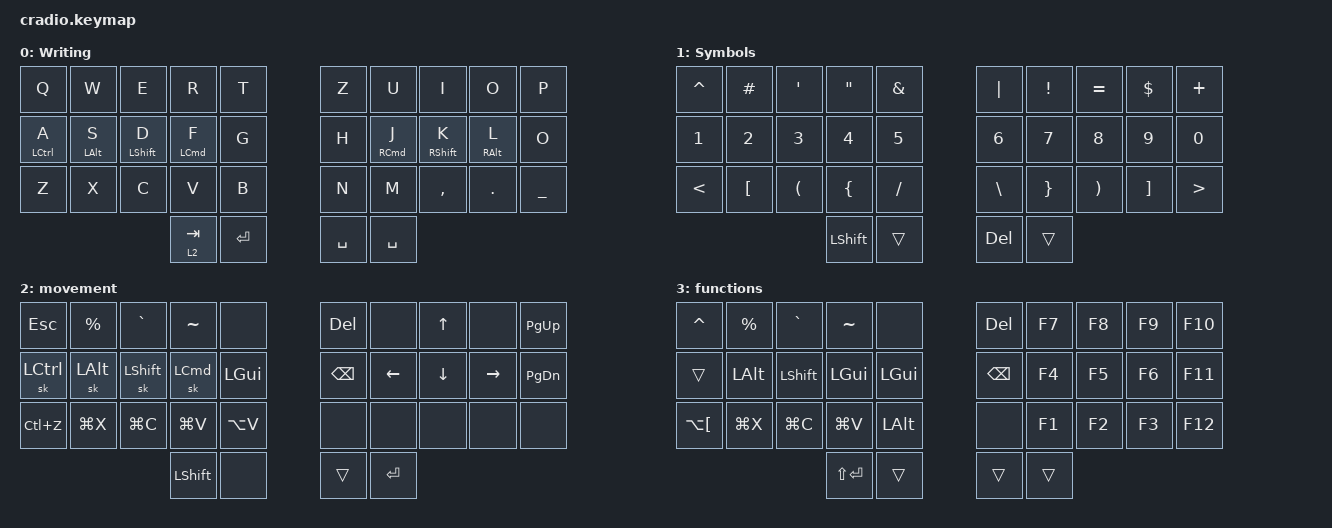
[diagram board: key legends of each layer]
#include <behaviors.dtsi>
#include <dt-bindings/zmk/keys.h>
#include <dt-bindings/zmk/mouse.h>

/ {
    combos {
        compatible = "zmk,combos";

        mouse_click {
            bindings = <&mkp LCLK>;
            key-positions = <20 25>;
        };

        backspace {
            bindings = <&kp BACKSPACE>;
            key-positions = <7 6>;
            layers = <0 1>;
        };

        delete_left_hand {
            bindings = <&kp DELETE>;
            key-positions = <2 3>;
        };
    };

    keymap {
        compatible = "zmk,keymap";

        Writing {
            bindings = <
&kp Q               &kp W           &kp E             &kp R               &kp T        &kp Z      &kp U                &kp I              &kp O            &kp P
&mt LEFT_CONTROL A  &mt LEFT_ALT S  &mt LEFT_SHIFT D  &mt LEFT_COMMAND F  &kp G        &kp H      &mt RIGHT_COMMAND J  &mt RIGHT_SHIFT K  &mt RIGHT_ALT L  &kp O
&kp Z               &kp X           &kp C             &kp V               &kp B        &kp N      &kp M                &kp COMMA          &kp DOT          &kp UNDERSCORE
                                                      &lt 2 TAB           &kp ENTER    &kp SPACE  &kp SPACE
            >;
        };

        Symbols {
            bindings = <
&kp CARET  &kp POUND  &kp SQT               &kp DOUBLE_QUOTES  &kp AMPERSAND    &kp PIPE       &kp EXCLAMATION  &kp EQUAL              &kp DOLLAR         &kp PLUS
&kp N1     &kp N2     &kp N3                &kp N4             &kp N5           &kp N6         &kp N7           &kp N8                 &kp N9             &kp N0
&kp LT     &kp LBKT   &kp LEFT_PARENTHESIS  &kp LBRC           &kp FSLH         &kp BACKSLASH  &kp RBRC         &kp RIGHT_PARENTHESIS  &kp RIGHT_BRACKET  &kp GREATER_THAN
                                            &kp LSHFT          &trans           &kp DEL        &trans
            >;
        };

        movement {
            bindings = <
&kp ESC           &kp PERCENT  &kp GRAVE       &kp TILDE         &none        &kp DEL   &none     &kp UP    &none      &kp PG_UP
&sk LEFT_CONTROL  &sk LALT     &sk LEFT_SHIFT  &sk LEFT_COMMAND  &kp LGUI     &kp BSPC  &kp LEFT  &kp DOWN  &kp RIGHT  &kp PG_DN
&kp LC(Z)         &kp LG(X)    &kp LG(C)       &kp LG(V)         &kp LA(V)    &none     &none     &none     &none      &none
                                               &kp LSHFT         &none        &trans    &kp RET
            >;
        };

        functions {
            bindings = <
&kp CARET     &kp PERCENT  &kp GRAVE  &kp TILDE    &none       &kp DEL   &kp F7  &kp F8  &kp F9  &kp F10
&trans        &kp LALT     &kp LSHFT  &kp LGUI     &kp LGUI    &kp BSPC  &kp F4  &kp F5  &kp F6  &kp F11
&kp LA(LBKT)  &kp LG(X)    &kp LG(C)  &kp LG(V)    &kp LALT    &none     &kp F1  &kp F2  &kp F3  &kp F12
                                      &kp LS(RET)  &trans      &trans    &trans
            >;
        };
    };
};
